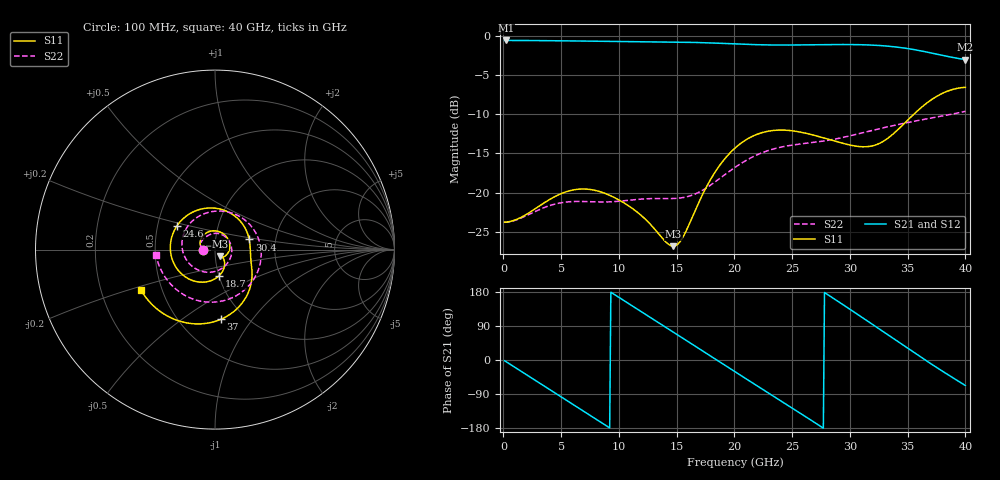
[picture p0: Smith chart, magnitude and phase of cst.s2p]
! B_s8_L1L3_bd_d200: L1→L3, back-drilled to 0.2 mm below L3, drill Ø0.2
! stackup: 8-layer 1.6 mm FR-4 (generic)
! ports: 1, 2
! CST Studio Suite 2025.5 Release from 2025-05-30, time domain (FIT, hexahedral, PBA), 154800 mesh cells, 34 s
! mesh: {'lpw': 20, 'lpb': 20, 'minstep': 0.0, 'ratio': 20}; ports: port 1 (face); port 2 (face)
! interpolated from CST's 1001 samples to the case grid
# Hz S RI R 50
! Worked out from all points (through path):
!   400 points, 100 MHz to 40 GHz, reference 50 ohm
!   highest |S21| = -0.58 dB at 200 MHz (marker M1); lowest = -3.0 dB at 40 GHz (marker M2)
!   group delay of S21, straight-line fit = 54.7 ps
!   lowest |S11| = -26.8 dB at 14.7 GHz (marker M3), VSWR 1.10, Z = 52.7 - j3.84 ohm
!   |S11| at or under -10 dB: start of sweep to 35.53 GHz
!   |S22| runs from -23.8 to -9.6 dB; largest |S21 - S12| = 0.0031
!   S11 on the Smith chart (normalised r, x): 100 MHz: 0.88, +0.00; 18.7 GHz: 1.00, -0.30; 24.6 GHz: 0.63, +0.18; 30.4 GHz: 1.46, +0.17; 37 GHz: 0.78, -0.72; 40 GHz: 0.38, -0.22
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1e8  -0.0648 0.000125  0.9345 -0.0318  0.9342 -0.0318  -0.0647 -2.16e-05
2e8  -0.0649 0.000252  0.9329 -0.0636  0.9326 -0.0636  -0.0648 -4.02e-05
1.8e9  -0.0712 0.0052  0.7644 -0.5375  0.7645 -0.5372  -0.0704 0.00232
3.7e9  -0.0827 0.0295  0.2856 -0.8878  0.2858 -0.888  -0.0794 0.0177
5.2e9  -0.0753 0.0658  -0.1839 -0.9119  -0.1841 -0.9121  -0.0784 0.0371
6.8e9  -0.0328 0.1004  -0.6268 -0.6829  -0.6271 -0.6827  -0.0675 0.0564
9.9e9  0.0775 0.0472  -0.8977 0.2037  -0.8975 0.2033  -0.0315 0.0822
1.34e10  0.0353 -0.0424  -0.1451 0.9043  -0.1451 0.9047  0.0525 0.0753
1.47e10  0.0275 -0.0364  0.2567 0.877  0.2571 0.8771  0.0841 0.0368
1.68e10  0.0523 -0.0644  0.7653 0.4873  0.7651 0.4869  0.0794 -0.0602
1.87e10  0.0211 -0.147  0.8941 -0.0739  0.8937 -0.0735  -0.00416 -0.1228
2.01e10  -0.0681 -0.1816  0.7535 -0.4705  0.754 -0.4701  -0.0884 -0.116
2.24e10  -0.2285 -0.0787  0.2056 -0.8527  0.2055 -0.8533  -0.1796 -0.00919
2.46e10  -0.2129 0.1308  -0.4235 -0.7648  -0.424 -0.7642  -0.1574 0.1218
2.67e10  -0.0338 0.2319  -0.8247 -0.2993  -0.8238 -0.2992  -0.0628 0.199
2.85e10  0.1212 0.1779  -0.8471 0.2401  -0.8473 0.239  0.0438 0.2139
3.04e10  0.1906 0.0565  -0.5148 0.7137  -0.5158 0.7144  0.1661 0.1652
3.19e10  0.1972 -0.0228  -0.0773 0.8701  -0.0764 0.8712  0.2413 0.0624
3.34e10  0.2044 -0.0958  0.3755 0.772  0.3767 0.771  0.2496 -0.0875
3.52e10  0.1879 -0.2337  0.7367 0.3731  0.7351 0.3721  0.1276 -0.2514
3.7e10  0.0343 -0.3876  0.7683 -0.1301  0.7677 -0.1279  -0.0896 -0.2853
4e10  -0.412 -0.2262  0.2718 -0.652  0.2725 -0.655  -0.3291 -0.0309
